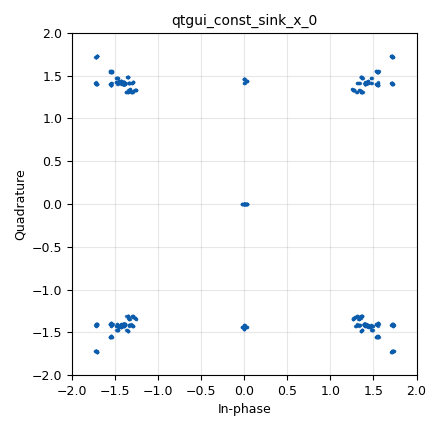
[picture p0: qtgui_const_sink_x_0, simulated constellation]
options:
  parameters:
    author: abhilash
    generate_options: qt_gui
    id: try2_const_tx
    output_language: python
    title: Not titled yet
  states: {}

blocks:
- name: freq1
  id: variable
  parameters:
    value: '100000'
  states: {}
- name: samp_rate
  id: variable
  parameters:
    value: '2000000'
  states: {}
- name: signal_power
  id: variable_qtgui_range
  parameters:
    label: increase signal power 100khz
    outputmsgname: value
    showports: 'False'
    start: '-1000'
    step: '1'
    stop: '1000000'
    value: '10'
  states: {}
- name: signal_power_0
  id: variable_qtgui_range
  parameters:
    label: increase signal carrier power 50Khz
    outputmsgname: value
    showports: 'False'
    start: '-1000'
    step: '1'
    stop: '1000000'
    value: '10'
  states: {}
- name: sps
  id: variable
  parameters:
    value: '2'
  states: {}
- name: variable_constellation_0
  id: variable_constellation
  parameters:
    precision: '8'
    type: qpsk
  states: {}
- name: variable_qtgui_range_0
  id: variable_qtgui_range
  parameters:
    label: CHANNEL 2 50KHZ
    outputmsgname: value
    showports: 'False'
    start: '-1000'
    step: '1'
    stop: '1000000'
    value: '1'
  states: {}
- name: variable_qtgui_range_1
  id: variable_qtgui_range
  parameters:
    label: CHANNEL 1 100KHZ
    outputmsgname: value
    showports: 'False'
    start: '-1000'
    step: '1'
    stop: '1000000'
    value: '1'
  states: {}
- name: analog_random_source_x_0
  id: analog_random_source_x
  parameters:
    max: '2'
    min: '0'
    num_samps: '1000'
    repeat: 'True'
    type: byte
  states: {}
- name: analog_sig_source_x_0
  id: analog_sig_source_x
  parameters:
    amp: signal_power
    freq: 100e3
    offset: '0'
    phase: '0'
    samp_rate: samp_rate
    type: complex
    waveform: analog.GR_COS_WAVE
  states: {}
- name: analog_sig_source_x_1_0
  id: analog_sig_source_x
  parameters:
    amp: signal_power_0
    freq: 50e3
    offset: '0'
    phase: '0'
    samp_rate: samp_rate
    type: complex
    waveform: analog.GR_COS_WAVE
  states: {}
- name: blocks_add_xx_0
  id: blocks_add_xx
  parameters:
    type: complex
  states: {}
- name: blocks_multiply_const_xx_0
  id: blocks_multiply_const_xx
  parameters:
    const: variable_qtgui_range_1
    type: complex
  states: {}
- name: blocks_multiply_const_xx_1
  id: blocks_multiply_const_xx
  parameters:
    const: variable_qtgui_range_0
    type: complex
  states: {}
- name: blocks_multiply_xx_0
  id: blocks_multiply_xx
  parameters:
    type: complex
  states: {}
- name: blocks_multiply_xx_0_0
  id: blocks_multiply_xx
  parameters:
    type: complex
  states: {}
- name: digital_constellation_modulator_0
  id: digital_constellation_modulator
  parameters:
    constellation: variable_constellation_0
    differential: 'True'
    excess_bw: '0.35'
    samples_per_symbol: '2'
  states: {}
- name: osmosdr_sink_0
  id: osmosdr_sink
  parameters:
    bb_gain0: '60'
    bw0: 500e4
    freq0: 600e6
    gain0: '50'
    if_gain0: '60'
    sample_rate: samp_rate
    sync: pc_clock
    type: fc32
  states: {}
- name: qtgui_const_sink_x_0
  id: qtgui_const_sink_x
  parameters:
    size: '1024'
    type: complex
  states: {}

connections:
- [analog_random_source_x_0, '0', digital_constellation_modulator_0, '0']
- [analog_sig_source_x_0, '0', blocks_multiply_xx_0, '0']
- [analog_sig_source_x_1_0, '0', blocks_multiply_xx_0_0, '1']
- [blocks_add_xx_0, '0', osmosdr_sink_0, '0']
- [blocks_multiply_const_xx_0, '0', blocks_add_xx_0, '0']
- [blocks_multiply_const_xx_1, '0', blocks_add_xx_0, '1']
- [blocks_multiply_xx_0, '0', blocks_multiply_const_xx_0, '0']
- [blocks_multiply_xx_0_0, '0', blocks_multiply_const_xx_1, '0']
- [digital_constellation_modulator_0, '0', blocks_multiply_xx_0, '1']
- [digital_constellation_modulator_0, '0', blocks_multiply_xx_0_0, '0']
- [digital_constellation_modulator_0, '0', qtgui_const_sink_x_0, '0']

metadata:
  file_format: 1
  grc_version: 3.10.4.0
